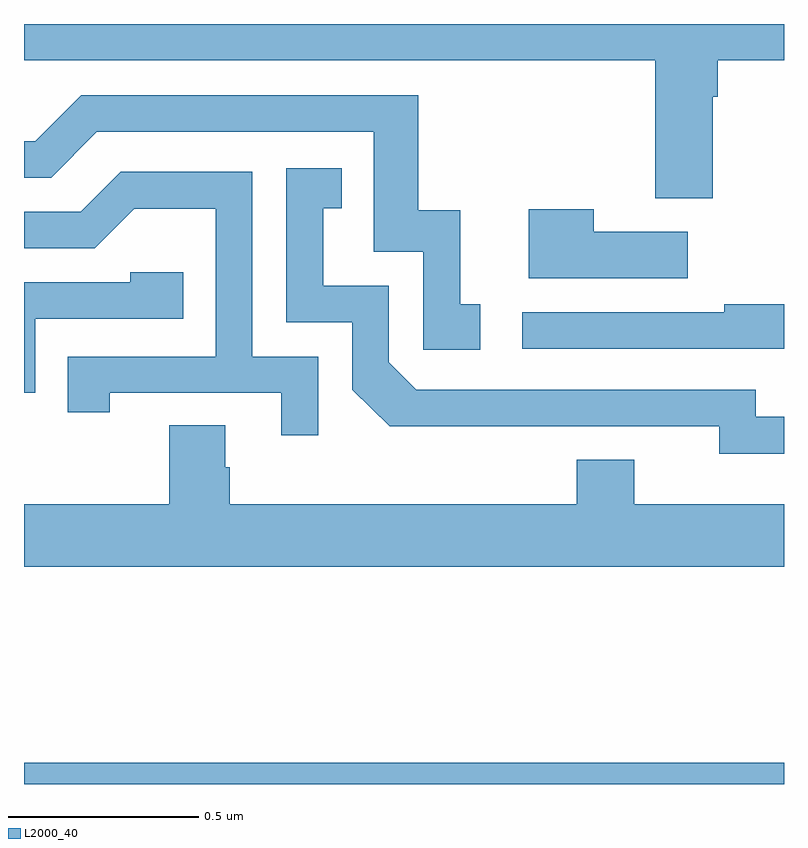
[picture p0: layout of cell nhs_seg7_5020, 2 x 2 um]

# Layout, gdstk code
import gdstk
lib = gdstk.Library(unit=1e-6, precision=1e-09)
def R(c, l, rs):  # rectangles x0, y0, x1, y1
    for r in rs: c.add(gdstk.rectangle(r[:2], r[2:], *l))
def P(c, l, *ps):  # polygons
    for p in ps: c.add(gdstk.Polygon(p, *l))
L2000_40 = (2000, 40)

nhs_seg7_5020 = lib.new_cell('nhs_seg7_5020')
R(nhs_seg7_5020, L2000_40, [(180,1044,182,1044.056)])
P(nhs_seg7_5020, L2000_40, [(180,1045.904),(181.661,1045.904),(181.661,1045.542),(181.813,1045.542),(181.813,1045.808),(181.826,1045.808),(181.826,1045.904),(182,1045.904),(182,1046),(180,1046)],
  [(181.201,1045.263),(181.148,1045.263),(181.148,1045.51),(181.037,1045.51),(181.037,1045.812),(180.15,1045.812),(180.03,1045.692),(180,1045.692),(180,1045.596),(180.072,1045.596),(180.192,1045.716),(180.921,1045.716),(180.921,1045.401),(181.05,1045.401),(181.05,1045.143),(181.201,1045.143)],
  [(182,1044.966),(181.926,1044.966),(181.926,1045.038),(181.032,1045.038),(180.96,1045.11),(180.96,1045.311),(180.787,1045.311),(180.787,1045.515),(180.836,1045.515),(180.836,1045.621),(180.69,1045.621),(180.69,1045.215),(180.864,1045.215),(180.864,1045.038),(180.962,1044.941),(181.37,1044.941),(181.37,1044.942),(181.83,1044.942),(181.83,1044.869),(182,1044.869)],
  [(180.774,1045.125),(180.6,1045.125),(180.6,1045.611),(180.254,1045.611),(180.149,1045.506),(180,1045.506),(180,1045.41),(180.186,1045.41),(180.29,1045.514),(180.504,1045.514),(180.504,1045.125),(180.115,1045.125),(180.115,1044.978),(180.226,1044.978),(180.226,1045.029),(180.677,1045.029),(180.677,1044.918),(180.774,1044.918)],
  [(181.747,1045.453),(181.499,1045.453),(181.499,1045.513),(181.328,1045.513),(181.328,1045.331),(181.747,1045.331)],
  [(180.03,1045.224),(180.419,1045.224),(180.419,1045.347),(180.279,1045.347),(180.279,1045.32),(180,1045.32),(180,1045.029),(180.03,1045.029)],
  [(182,1045.262),(181.843,1045.262),(181.843,1045.242),(181.311,1045.242),(181.311,1045.146),(182,1045.146)],
  [(182,1044.736),(181.606,1044.736),(181.606,1044.853),(181.454,1044.853),(181.454,1044.736),(180.542,1044.736),(180.542,1044.834),(180.529,1044.834),(180.529,1044.944),(180.382,1044.944),(180.382,1044.736),(180,1044.736),(180,1044.572),(182,1044.572)])

lib.write_gds('nhs_seg7_5020.gds')
